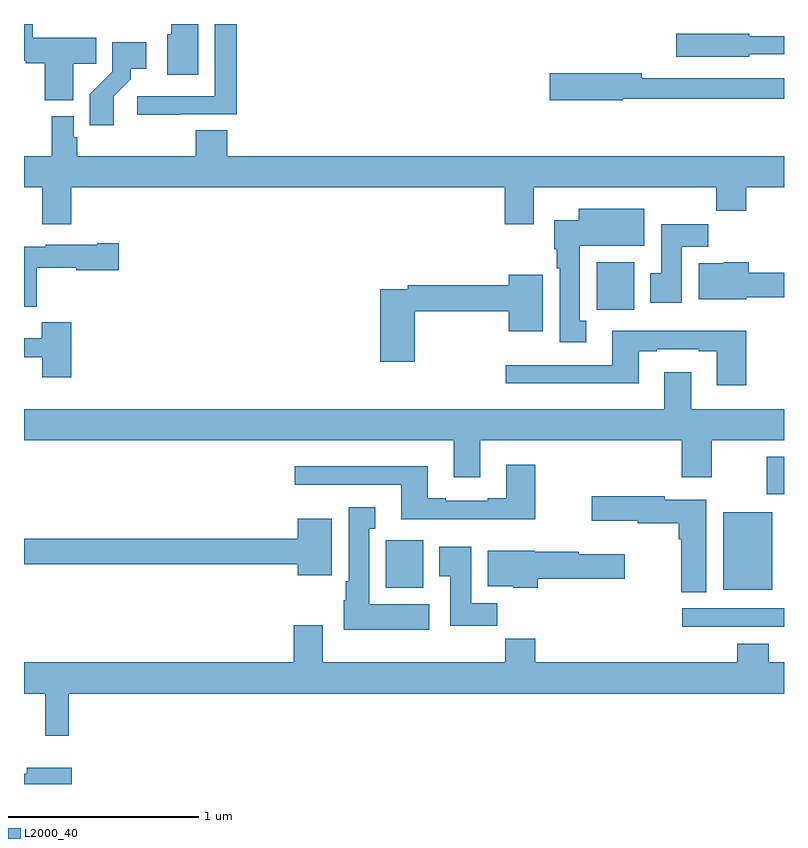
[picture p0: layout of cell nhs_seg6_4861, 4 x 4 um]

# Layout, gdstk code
import gdstk
lib = gdstk.Library(unit=1e-6, precision=1e-09)
def R(c, l, rs):  # rectangles x0, y0, x1, y1
    for r in rs: c.add(gdstk.rectangle(r[:2], r[2:], *l))
def P(c, l, *ps):  # polygons
    for p in ps: c.add(gdstk.Polygon(p, *l))
L2000_40 = (2000, 40)

nhs_seg6_4861 = lib.new_cell('nhs_seg6_4861')
R(nhs_seg6_4861, L2000_40, [(402.465,974.328,403,974.424), (402.68,974.522,402.937,974.929), (400.905,974.534,401.101,974.784), (402.91,975.024,403,975.223), (402.015,975.996,402.211,976.246)])
P(nhs_seg6_4861, L2000_40, [(399.821,977.025),(400.121,977.025),(400.121,977.5),(400.005,977.5),(400.005,977.121),(399.597,977.121),(399.597,977.023),(399.821,977.023)],
  [(399.916,977.5),(399.774,977.5),(399.774,977.445),(399.755,977.445),(399.755,977.232),(399.916,977.232)],
  [(399.259,977.29),(399.38,977.29),(399.38,977.428),(399.046,977.428),(399.046,977.5),(399,977.5),(399,977.306),(399.009,977.306),(399.009,977.294),(399.11,977.294),(399.11,977.099),(399.259,977.099)],
  [(402.816,977.34),(403,977.34),(403,977.436),(402.816,977.436),(402.816,977.449),(402.432,977.449),(402.432,977.327),(402.816,977.327)],
  [(399.472,977.119),(399.562,977.209),(399.562,977.264),(399.643,977.264),(399.643,977.404),(399.465,977.404),(399.465,977.249),(399.346,977.13),(399.346,976.968),(399.472,976.968)],
  [(402.15,977.106),(403,977.106),(403,977.214),(402.25,977.214),(402.25,977.24),(401.766,977.24),(401.766,977.098),(402.15,977.098)],
  [(399.248,976.64),(401.531,976.64),(401.531,976.446),(401.683,976.446),(401.683,976.64),(402.643,976.64),(402.643,976.516),(402.8,976.516),(402.8,976.64),(403,976.64),(403,976.804),(400.07,976.804),(400.07,976.94),(399.905,976.94),(399.905,976.804),(399.281,976.804),(399.281,976.905),(399.261,976.905),(399.261,977.014),(399.145,977.014),(399.145,976.804),(399,976.804),(399,976.64),(399.095,976.64),(399.095,976.446),(399.248,976.446)],
  [(401.959,975.937),(401.926,975.937),(401.926,976.334),(402.265,976.334),(402.265,976.528),(401.921,976.528),(401.921,976.468),(401.792,976.468),(401.792,976.314),(401.804,976.314),(401.804,976.214),(401.819,976.214),(401.819,975.825),(401.959,975.825)],
  [(402.463,976.328),(402.602,976.328),(402.602,976.446),(402.353,976.446),(402.353,976.188),(402.296,976.188),(402.296,976.032),(402.463,976.032)],
  [(399.068,976.217),(399.276,976.217),(399.276,976.205),(399.499,976.205),(399.499,976.347),(399.386,976.347),(399.386,976.339),(399.114,976.339),(399.114,976.327),(399,976.327),(399,976.013),(399.068,976.013)],
  [(402.802,976.063),(403,976.063),(403,976.192),(402.815,976.192),(402.815,976.246),(402.684,976.246),(402.684,976.24),(402.551,976.24),(402.551,976.052),(402.802,976.052)],
  [(401.057,975.988),(401.552,975.988),(401.552,975.884),(401.731,975.884),(401.731,976.18),(401.552,976.18),(401.552,976.124),(401.02,976.124),(401.02,976.104),(400.874,976.104),(400.874,975.723),(401.057,975.723)],
  [(399.248,975.931),(399.093,975.931),(399.093,975.847),(399,975.847),(399,975.747),(399.095,975.747),(399.095,975.642),(399.248,975.642)],
  [(402.8,975.886),(402.095,975.886),(402.095,975.705),(401.535,975.705),(401.535,975.608),(402.235,975.608),(402.235,975.777),(402.331,975.777),(402.331,975.789),(402.551,975.789),(402.551,975.777),(402.647,975.777),(402.647,975.6),(402.8,975.6)],
  [(401.401,975.308),(402.461,975.308),(402.461,975.114),(402.621,975.114),(402.621,975.308),(403,975.308),(403,975.472),(402.511,975.472),(402.511,975.667),(402.371,975.667),(402.371,975.472),(399,975.472),(399,975.308),(401.261,975.308),(401.261,975.114),(401.401,975.114)],
  [(401.69,975.181),(401.537,975.181),(401.537,975.004),(401.441,975.004),(401.441,974.991),(401.221,974.991),(401.221,975.004),(401.125,975.004),(401.125,975.172),(400.425,975.172),(400.425,975.075),(400.985,975.075),(400.985,974.894),(401.69,974.894)],
  [(402.592,974.995),(402.372,974.995),(402.372,975.015),(401.988,975.015),(401.988,974.885),(402.231,974.885),(402.231,974.873),(402.446,974.873),(402.446,974.789),(402.458,974.789),(402.458,974.509),(402.592,974.509)],
  [(401.134,974.446),(400.816,974.446),(400.816,974.843),(400.849,974.843),(400.849,974.956),(400.709,974.956),(400.709,974.566),(400.694,974.566),(400.694,974.466),(400.682,974.466),(400.682,974.312),(401.134,974.312)],
  [(400.621,974.896),(400.442,974.896),(400.442,974.792),(399,974.792),(399,974.656),(400.442,974.656),(400.442,974.6),(400.621,974.6)],
  [(401.492,974.452),(401.353,974.452),(401.353,974.749),(401.186,974.749),(401.186,974.593),(401.243,974.593),(401.243,974.334),(401.492,974.334)],
  [(401.705,974.581),(402.163,974.581),(402.163,974.71),(401.919,974.71),(401.919,974.723),(401.688,974.723),(401.688,974.728),(401.441,974.728),(401.441,974.54),(401.574,974.54),(401.574,974.534),(401.705,974.534)],
  [(399.235,973.976),(403,973.976),(403,974.14),(402.92,974.14),(402.92,974.239),(402.755,974.239),(402.755,974.14),(401.69,974.14),(401.69,974.264),(401.533,974.264),(401.533,974.14),(400.573,974.14),(400.573,974.335),(400.421,974.335),(400.421,974.14),(399,974.14),(399,973.976),(399.113,973.976),(399.113,973.755),(399.235,973.755)],
  [(399.25,973.585),(399.014,973.585),(399.014,973.553),(399,973.553),(399,973.5),(399.25,973.5)])

lib.write_gds('nhs_seg6_4861.gds')
